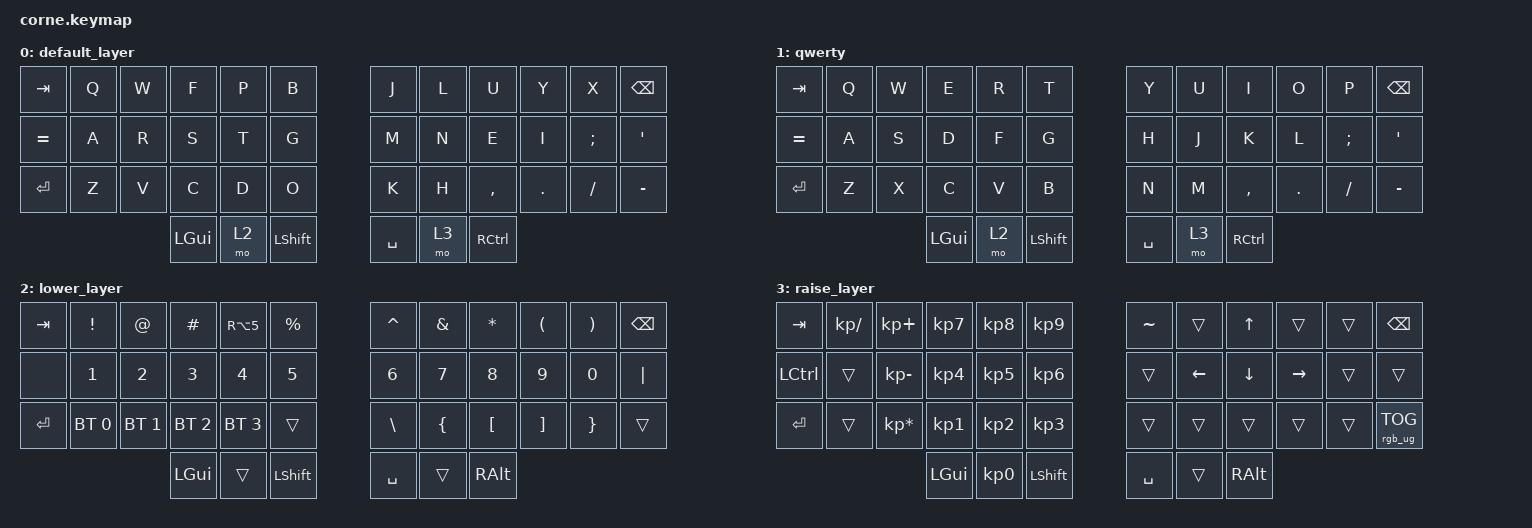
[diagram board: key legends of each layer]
/*
 * Copyright (c) 2020 The ZMK Contributors
 *
 * SPDX-License-Identifier: MIT
 */

#include <behaviors.dtsi>
#include <dt-bindings/zmk/bt.h>
#include <dt-bindings/zmk/keys.h>
#include <dt-bindings/zmk/rgb.h>

/ {
    combos {
        compatible = "zmk,combos";

        ae {
            bindings = <&kp RA(Q)>;
            key-positions = <1 13>;
        };

        sz {
            bindings = <&kp RA(S)>;
            key-positions = <3 15>;
        };

        ue {
            bindings = <&kp RA(Y)>;
            key-positions = <8 20>;
        };

        oe {
            bindings = <&kp RA(P)>;
            key-positions = <10 22>;
        };

        del {
            bindings = <&kp DEL>;
            key-positions = <11 23>;
        };

        cut {
            bindings = <&kp LC(X)>;
            key-positions = <25 26>;
        };

        copy {
            bindings = <&kp LC(C)>;
            key-positions = <14 26>;
        };

        pasta {
            bindings = <&kp LC(V)>;
            key-positions = <26 27>;
        };

        home {
            bindings = <&kp HOME>;
            key-positions = <18 30>;
        };

        end {
            bindings = <&kp END>;
            key-positions = <19 31>;
        };

        clearBTprofil {
            bindings = <&bt BT_CLR_ALL>;
            key-positions = <5 17>;
        };

        toggleQWERTY {
            bindings = <&tog 1>;
            key-positions = <0 12>;
        };

        Escape {
            bindings = <&kp ESC>;
            key-positions = <12 24>;
        };
    };

    keymap {
        compatible = "zmk,keymap";

        default_layer {
            // -----------------------------------------------------------------------------------------
            // |  TAB |  Q  |  W  |  E  |  R  |  T  |   |  Y  |  U   |  I  |  O  |  P  | BSPC |
            // | CTRL |  A  |  S  |  D  |  F  |  G  |   |  H  |  J   |  K  |  L  |  ;  |  '   |
            // | SHFT |  Z  |  X  |  C  |  V  |  B  |   |  N  |  M   |  ,  |  .  |  /  | ESC  |
            //                    | GUI | LWR | SPC |   | ENT | RSE  | ALT |

            bindings = <
&kp TAB    &kp Q  &kp W  &kp F     &kp P  &kp B             &kp J      &kp L  &kp U              &kp Y    &kp X     &kp BSPC
&kp EQUAL  &kp A  &kp R  &kp S     &kp T  &kp G             &kp M      &kp N  &kp E              &kp I    &kp SEMI  &kp SQT
&kp ENTER  &kp Z  &kp V  &kp C     &kp D  &kp O             &kp K      &kp H  &kp COMMA          &kp DOT  &kp FSLH  &kp MINUS
                         &kp LGUI  &mo 2  &kp LEFT_SHIFT    &kp SPACE  &mo 3  &kp RIGHT_CONTROL
            >;
        };

        qwerty {
            bindings = <
&kp TAB    &kp Q  &kp W  &kp E     &kp R  &kp T        &kp Y      &kp U  &kp I      &kp O    &kp P     &kp BSPC
&kp EQUAL  &kp A  &kp S  &kp D     &kp F  &kp G        &kp H      &kp J  &kp K      &kp L    &kp SEMI  &kp APOS
&kp ENTER  &kp Z  &kp X  &kp C     &kp V  &kp B        &kp N      &kp M  &kp COMMA  &kp DOT  &kp FSLH  &kp MINUS
                         &kp LGUI  &mo 2  &kp LSHFT    &kp SPACE  &mo 3  &kp RCTRL
            >;
        };

        lower_layer {
            // -----------------------------------------------------------------------------------------
            // |  TAB |  1  |  2  |  3  |  4  |  5  |   |  6  |  7  |  8  |  9  |  0  | BSPC |
            // | BTCLR| BT1 | BT2 | BT3 | BT4 | BT5 |   | LFT | DWN |  UP | RGT |     |      |
            // | SHFT |     |     |     |     |     |   |     |     |     |     |     |      |
            //                    | GUI |     | SPC |   | ENT |     | ALT |

            bindings = <
&kp TAB     &kp EXCLAMATION  &kp AT        &kp HASH      &kp RA(N5)    &kp PERCENT       &kp CARET      &kp AMPS        &kp ASTRK         &kp LEFT_PARENTHESIS  &kp RIGHT_PARENTHESIS  &kp BSPC
&none       &kp NUMBER_1     &kp NUMBER_2  &kp NUMBER_3  &kp NUMBER_4  &kp N5            &kp NUMBER_6   &kp N7          &kp N8            &kp N9                &kp N0                 &kp PIPE
&kp RETURN  &bt BT_SEL 0     &bt BT_SEL 1  &bt BT_SEL 2  &bt BT_SEL 3  &trans            &kp BACKSLASH  &kp LEFT_BRACE  &kp LEFT_BRACKET  &kp RIGHT_BRACKET     &kp RIGHT_BRACE        &trans
                                           &kp LGUI      &trans        &kp LEFT_SHIFT    &kp SPACE      &trans          &kp RALT
            >;
        };

        raise_layer {
            // -----------------------------------------------------------------------------------------
            // |  TAB |  !  |  @  |  #  |  $  |  %  |   |  ^  |  &  |  *  |  (  |  )  | BSPC |
            // | CTRL |     |     |     |     |     |   |  -  |  =  |  [  |  ]  |  \  |  `   |
            // | SHFT |     |     |     |     |     |   |  _  |  +  |  {  |  }  | "|" |  ~   |
            //                    | GUI |     | SPC |   | ENT |     | ALT |

            bindings = <
&kp TAB     &kp KP_DIVIDE  &kp KP_PLUS      &kp KP_NUMBER_7  &kp KP_NUMBER_8  &kp KP_NUMBER_9    &kp TILDE  &trans    &kp UP_ARROW  &trans     &trans  &kp BSPC
&kp LCTRL   &trans         &kp KP_MINUS     &kp KP_NUMBER_4  &kp KP_NUMBER_5  &kp KP_NUMBER_6    &trans     &kp LEFT  &kp DOWN      &kp RIGHT  &trans  &trans
&kp RETURN  &trans         &kp KP_MULTIPLY  &kp KP_NUMBER_1  &kp KP_NUMBER_2  &kp KP_NUMBER_3    &trans     &trans    &trans        &trans     &trans  &rgb_ug RGB_TOG
                                            &kp LGUI         &kp KP_NUMBER_0  &kp LEFT_SHIFT     &kp SPACE  &trans    &kp RALT
            >;
        };
    };
};

&led_strip { chain-length = <21>; };
